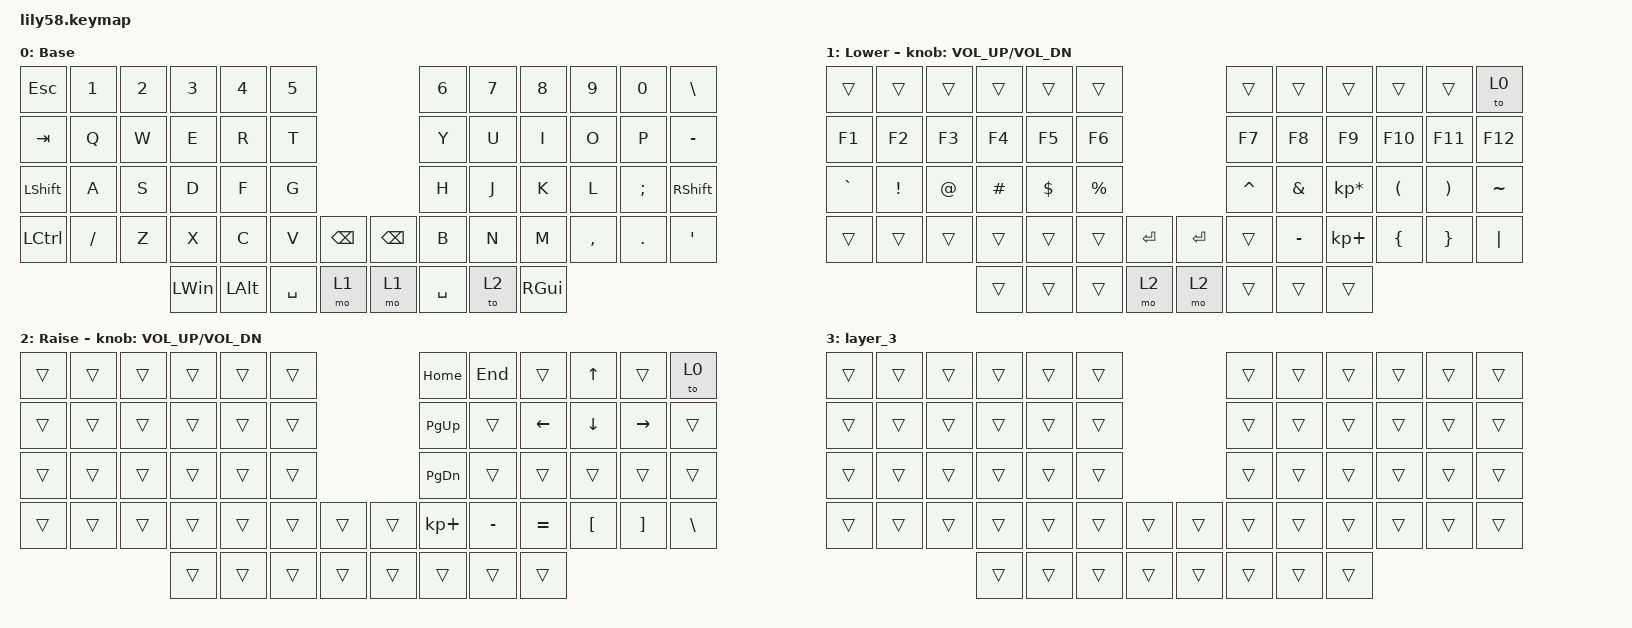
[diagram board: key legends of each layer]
/*
 * Copyright (c) 2020 The ZMK Contributors
 *
 * SPDX-License-Identifier: MIT
 */

#include <behaviors.dtsi>
#include <dt-bindings/zmk/keys.h>

/ {
    keymap {
        compatible = "zmk,keymap";

        default_layer {
            // ------------------------------------------------------------------------------------------------------------
            // |  ESC  |  1  |  2  |  3   |  4   |  5   |                   |  6   |  7    |  8    |  9   |   0   |   `   |
            // |  TAB  |  Q  |  W  |  E   |  R   |  T   |                   |  Y   |  U    |  I    |  O   |   P   |   -   |
            // |  CTRL |  A  |  S  |  D   |  F   |  G   |                   |  H   |  J    |  K    |  L   |   ;   |   '   |
            // | SHIFT |  Z  |  X  |  C   |  V   |  B   |   "["  |  |  "]"  |  N   |  M    |  ,    |  .   |   /   | SHIFT |
            //                     | ALT  | GUI  | LOWER|  SPACE |  | ENTER | RAISE| BSPC  | GUI   |

            label = "Base";
            bindings = <
&kp ESC           &kp N1     &kp N2  &kp N3        &kp N4        &kp N5                                     &kp N6     &kp N7  &kp N8    &kp N9     &kp N0      &kp BSLH
&kp TAB           &kp Q      &kp W   &kp E         &kp R         &kp T                                      &kp Y      &kp U   &kp I     &kp O      &kp P       &kp MINUS
&kp LEFT_SHIFT    &kp A      &kp S   &kp D         &kp F         &kp G                                      &kp H      &kp J   &kp K     &kp L      &kp SEMI    &kp RIGHT_SHIFT
&kp LEFT_CONTROL  &kp SLASH  &kp Z   &kp X         &kp C         &kp V      &kp BACKSPACE    &kp BACKSPACE  &kp B      &kp N   &kp M     &kp COMMA  &kp PERIOD  &kp APOSTROPHE
                                     &kp LEFT_WIN  &kp LEFT_ALT  &kp SPACE  &mo 1            &mo 1          &kp SPACE  &to 2   &kp RGUI
            >;
        };

        lower_layer {
            // ------------------------------------------------------------------------------------------------------------
            // | BTCLR | BT1 | BT2 |  BT3 |  BT4 |  BT5 |                   |      |       |       |      |       |       |
            // |  F1   |  F2 |  F3 |  F4  |  F5  |  F6  |                   |  F7  |  F8   |  F9   |  F10 |  F11  |  F12  |
            // |   `   |  !  |  @  |  #   |  $   |  %   |                   |  ^   |  &    |  *    |  (   |   )   |   ~   |
            // |       |     |     |      |      |      |        |  |       |      |  _    |  +    |  {   |   }   |  "|"  |
            //                     |      |      |      |        |  |       |      |       |       |

            label = "Lower";
            bindings = <
&trans     &trans    &trans  &trans    &trans      &trans                               &trans     &trans     &trans           &trans    &trans    &to 0
&kp F1     &kp F2    &kp F3  &kp F4    &kp F5      &kp F6                               &kp F7     &kp F8     &kp F9           &kp F10   &kp F11   &kp F12
&kp GRAVE  &kp EXCL  &kp AT  &kp HASH  &kp DOLLAR  &kp PRCNT                            &kp CARET  &kp AMPS   &kp KP_MULTIPLY  &kp LPAR  &kp RPAR  &kp TILDE
&trans     &trans    &trans  &trans    &trans      &trans     &kp RETURN    &kp RETURN  &trans     &kp MINUS  &kp KP_PLUS      &kp LBRC  &kp RBRC  &kp PIPE
                             &trans    &trans      &trans     &mo 2         &mo 2       &trans     &trans     &trans
            >;

            sensor-bindings = <&inc_dec_kp C_VOL_UP C_VOL_DN>;
        };

        navigation_layer {
            // ------------------------------------------------------------------------------------------------------------
            // |       |     |     |      |      |      |                   |      |       |       |      |       |       |
            // |   `   |  1  |  2  |  3   |  4   |  5   |                   |  6   |   7   |   8   |  9   |   0   |       |
            // |   F1  |  F2 |  F3 |  F4  |  F5  |  F6  |                   |      |   <-  |   v   |  ^   |  ->   |       |
            // |   F7  |  F8 |  F9 |  F10 |  F11 |  F12 |        |  |       |  +   |   -   |   =   |  [   |   ]   |   \   |
            //                     |      |      |      |        |  |       |      |       |       |

            label = "Raise";
            bindings = <
&trans  &trans  &trans  &trans  &trans  &trans                    &kp HOME       &kp END    &trans     &kp UP    &trans     &to 0
&trans  &trans  &trans  &trans  &trans  &trans                    &kp PAGE_UP    &trans     &kp LEFT   &kp DOWN  &kp RIGHT  &trans
&trans  &trans  &trans  &trans  &trans  &trans                    &kp PAGE_DOWN  &trans     &trans     &trans    &trans     &trans
&trans  &trans  &trans  &trans  &trans  &trans  &trans    &trans  &kp KP_PLUS    &kp MINUS  &kp EQUAL  &kp LBKT  &kp RBKT   &kp BSLH
                        &trans  &trans  &trans  &trans    &trans  &trans         &trans     &trans
            >;

            sensor-bindings = <&inc_dec_kp C_VOL_UP C_VOL_DN>;
        };

        layer_3 {
            bindings = <
&trans  &trans  &trans  &trans  &trans  &trans                    &trans  &trans  &trans  &trans  &trans  &trans
&trans  &trans  &trans  &trans  &trans  &trans                    &trans  &trans  &trans  &trans  &trans  &trans
&trans  &trans  &trans  &trans  &trans  &trans                    &trans  &trans  &trans  &trans  &trans  &trans
&trans  &trans  &trans  &trans  &trans  &trans  &trans    &trans  &trans  &trans  &trans  &trans  &trans  &trans
                        &trans  &trans  &trans  &trans    &trans  &trans  &trans  &trans
            >;
        };
    };
};
